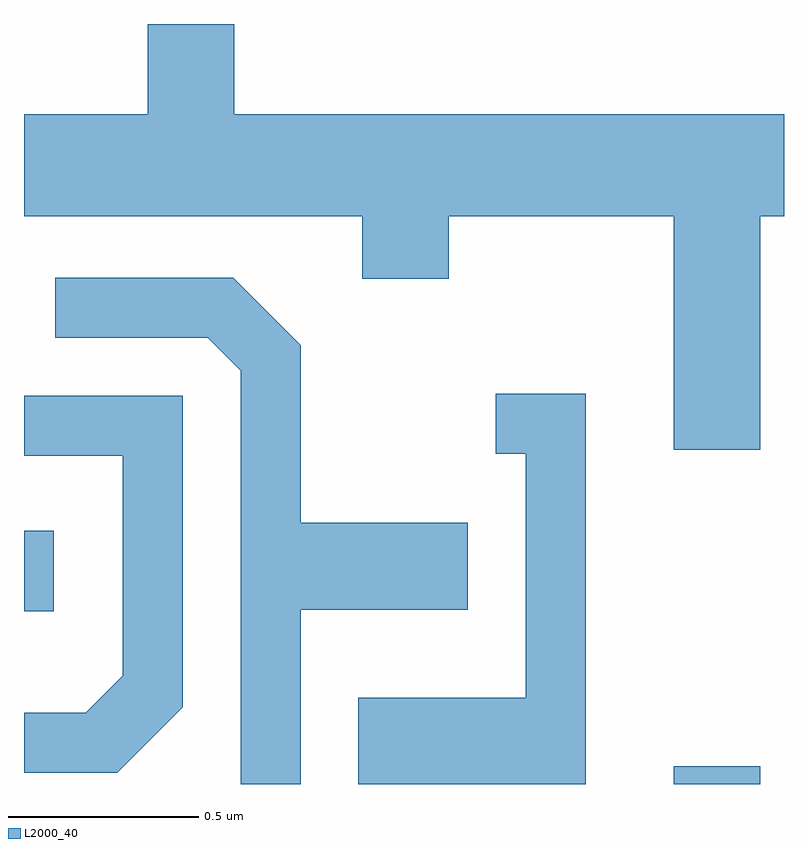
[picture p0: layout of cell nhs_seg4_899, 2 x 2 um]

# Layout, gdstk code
import gdstk
lib = gdstk.Library(unit=1e-6, precision=1e-09)
def R(c, l, rs):  # rectangles x0, y0, x1, y1
    for r in rs: c.add(gdstk.rectangle(r[:2], r[2:], *l))
def P(c, l, *ps):  # polygons
    for p in ps: c.add(gdstk.Polygon(p, *l))
L2000_40 = (2000, 40)

nhs_seg4_899 = lib.new_cell('nhs_seg4_899')
R(nhs_seg4_899, L2000_40, [(193.321,1330.982,193.549,1331.029), (191.611,1331.436,191.689,1331.649)])
P(nhs_seg4_899, L2000_40, [(193.549,1332.476),(193.611,1332.476),(193.611,1332.744),(192.164,1332.744),(192.164,1332.982),(191.936,1332.982),(191.936,1332.744),(191.611,1332.744),(191.611,1332.476),(192.501,1332.476),(192.501,1332.311),(192.729,1332.311),(192.729,1332.476),(193.321,1332.476),(193.321,1331.861),(193.549,1331.861)],
  [(192.339,1331.441),(192.779,1331.441),(192.779,1331.669),(192.339,1331.669),(192.339,1332.137),(192.162,1332.314),(191.693,1332.314),(191.693,1332.156),(192.094,1332.156),(192.181,1332.069),(192.181,1330.982),(192.339,1330.982)],
  [(193.089,1332.009),(192.853,1332.009),(192.853,1331.851),(192.931,1331.851),(192.931,1331.209),(192.491,1331.209),(192.491,1330.982),(193.089,1330.982)],
  [(192.029,1331.184),(192.029,1332.004),(191.611,1332.004),(191.611,1331.846),(191.871,1331.846),(191.871,1331.267),(191.774,1331.169),(191.611,1331.169),(191.611,1331.011),(191.857,1331.011)])

lib.write_gds('nhs_seg4_899.gds')
